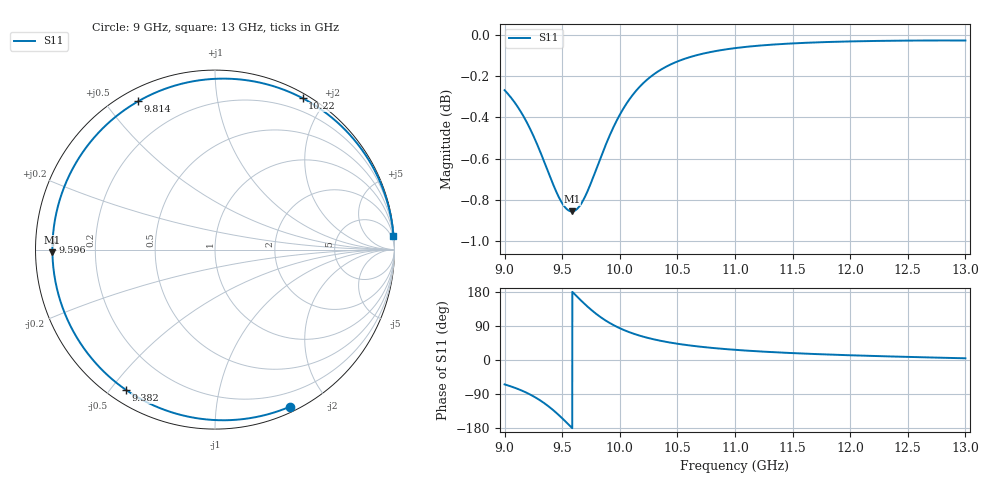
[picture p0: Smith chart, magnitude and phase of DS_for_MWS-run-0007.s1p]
! TOUCHSTONE file generated by CST DESIGN STUDIO
! Date and time: Tue Feb  4 18:19:11 2025
! Project name: C:\Work\MatlabApps\UnitCellOptimizationMatlab\CST\unitcell.cst
! Tree item: Tasks\Sweep1\SPara1\S-Parameters
! Header version: 2024
! Port assignment regex: !\s*Touchstone port\s*([0-9]+)\s*=\s*(CST MWS port|CST DES external port|CST DES block port)\s*(.+)\s* \(\"(.*)\"\)(\s*mode\s*([0-9]+))?.*
! Touchstone port assignment:
! Touchstone port 1 = CST DES external port 1 ("")
# GHz S MA R 50
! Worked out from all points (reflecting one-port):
!   4001 points, 9 GHz to 13 GHz, reference 50 ohm
!   lowest |S11| = -0.9 dB at 9.584 GHz (marker M1), VSWR 20.28, Z = 2.47 - j0.435 ohm
!   phase of S11 starts at -64 deg and turns -291 deg over the sweep
!   S11 on the Smith chart (normalised r, x): 9 GHz: 0.05, -1.59; 9.382 GHz: 0.05, -0.55; 9.596 GHz: 0.05, +0.02; 9.814 GHz: 0.05, +0.61; 10.22 GHz: 0.05, +1.73; 13 GHz: 1, +25
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9  0.9696 -64.4
9.046  0.9664 -68.8
9.114  0.9606 -76.3
9.231  0.9477 -92.6
9.311  0.9365 -107.0
9.382  0.9257 -122.4
9.44  0.9172 -137.0
9.5  0.9102 -153.7
9.543  0.907 -166.5
9.584  0.906 -179.0
9.596  0.9061 177.3
9.652  0.9088 160.3
9.713  0.9154 142.8
9.763  0.9226 129.6
9.814  0.9306 117.4
9.855  0.937 108.6
9.899  0.9435 100.1
10  0.9564 83.8
10.106  0.9666 70.8
10.223  0.9746 59.9
10.351  0.9806 50.9
10.5  0.9853 42.9
10.72  0.9897 34.4
11  0.9927 26.9
11.5  0.9954 18.2
12  0.9965 12.5
12.5  0.9969 8.2
13  0.997 4.5
